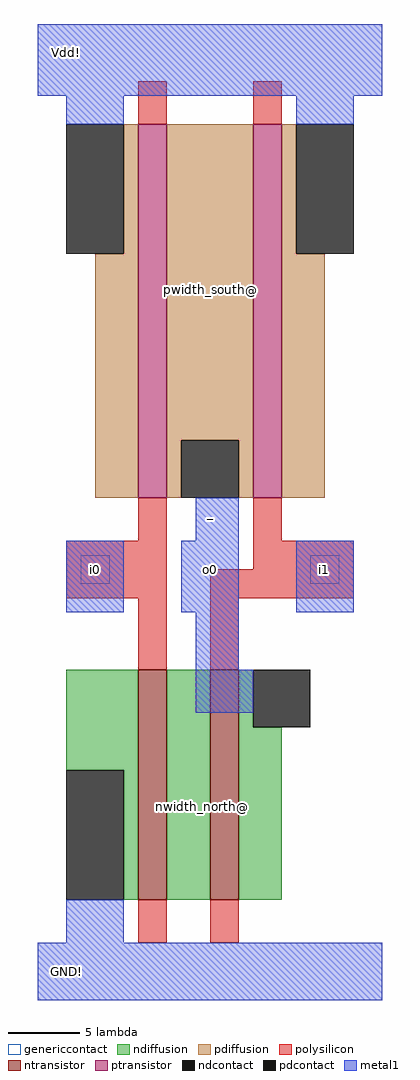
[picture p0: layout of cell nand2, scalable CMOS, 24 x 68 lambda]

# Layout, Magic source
magic
tech scmos
<< ntransistor >>
rect 5 4 7 20
rect 10 4 12 20
<< ptransistor >>
rect 5 32 7 58
rect 13 32 15 58
<< ndiffusion >>
rect 0 13 5 20
rect 4 4 5 13
rect 7 4 10 20
rect 12 16 13 20
rect 12 4 15 16
<< pdiffusion >>
rect 4 49 5 58
rect 2 32 5 49
rect 7 36 13 58
rect 7 32 8 36
rect 12 32 13 36
rect 15 49 16 58
rect 15 32 18 49
<< ndcontact >>
rect 0 4 4 13
rect 13 16 17 20
<< pdcontact >>
rect 0 49 4 58
rect 8 32 12 36
rect 16 49 20 58
<< polysilicon >>
rect 5 58 7 61
rect 13 58 15 61
rect 5 29 7 32
rect 0 25 7 29
rect 13 29 15 32
rect 13 27 20 29
rect 5 20 7 25
rect 10 25 20 27
rect 10 20 12 25
rect 5 1 7 4
rect 10 1 12 4
<< genericcontact >>
rect 1 26 3 28
rect 17 26 19 28
<< metal1 >>
rect -2 60 22 65
rect 0 58 4 60
rect 16 58 20 60
rect 9 29 12 32
rect 0 24 4 29
rect 8 24 12 29
rect 16 24 20 29
rect 9 20 12 24
rect 9 17 13 20
rect 0 1 4 4
rect -2 -3 22 1
<< labels >>
rlabel metal1 2 27 2 27 1 i0
rlabel metal1 18 27 18 27 1 i1
rlabel metal1 10 27 10 27 1 o0
rlabel space -2 -5 22 67 1 _
rlabel metal1 0 -1 0 -1 2 GND!
rlabel metal1 0 63 0 63 3 Vdd!
rlabel ndiffusion 4 4 15 17 1 nwidth_north@
rlabel pdiffusion 4 35 16 58 1 pwidth_south@
<< end >>
